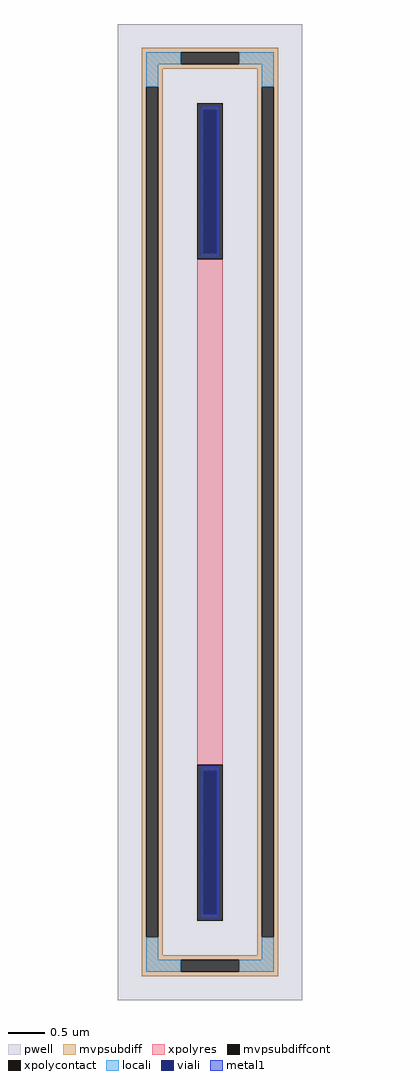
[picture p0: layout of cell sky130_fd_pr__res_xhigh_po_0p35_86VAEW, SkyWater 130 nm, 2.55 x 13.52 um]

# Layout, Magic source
magic
tech sky130A
magscale 1 2
<< pwell >>
rect -255 -1352 255 1352
<< mvpsubdiff >>
rect -189 1274 189 1286
rect -189 1240 -81 1274
rect 81 1240 189 1274
rect -189 1228 189 1240
rect -189 1178 -131 1228
rect -189 -1178 -177 1178
rect -143 -1178 -131 1178
rect 131 1178 189 1228
rect -189 -1228 -131 -1178
rect 131 -1178 143 1178
rect 177 -1178 189 1178
rect 131 -1228 189 -1178
rect -189 -1240 189 -1228
rect -189 -1274 -81 -1240
rect 81 -1274 189 -1240
rect -189 -1286 189 -1274
<< mvpsubdiffcont >>
rect -81 1240 81 1274
rect -177 -1178 -143 1178
rect 143 -1178 177 1178
rect -81 -1274 81 -1240
<< xpolycontact >>
rect -35 700 35 1132
rect -35 -1132 35 -700
<< xpolyres >>
rect -35 -700 35 700
<< locali >>
rect -177 1240 -81 1274
rect 81 1240 177 1274
rect -177 1178 -143 1240
rect 143 1178 177 1240
rect -177 -1240 -143 -1178
rect 143 -1240 177 -1178
rect -177 -1274 -81 -1240
rect 81 -1274 177 -1240
<< viali >>
rect -19 717 19 1114
rect -19 -1114 19 -717
<< metal1 >>
rect -25 1114 25 1126
rect -25 717 -19 1114
rect 19 717 25 1114
rect -25 705 25 717
rect -25 -717 25 -705
rect -25 -1114 -19 -717
rect 19 -1114 25 -717
rect -25 -1126 25 -1114
<< properties >>
string FIXED_BBOX -160 -1257 160 1257
string gencell sky130_fd_pr__res_xhigh_po_0p35
string library sky130
string parameters w 0.350 l 7.16 m 1 nx 1 wmin 0.350 lmin 0.50 rho 2000 val 41.989k dummy 0 dw 0.0 term 188.2 sterm 0.0 caplen 0 wmax 0.350 guard 1 glc 1 grc 1 gtc 1 gbc 1 compatible {sky130_fd_pr__res_xhigh_po_0p35  sky130_fd_pr__res_xhigh_po_0p69 sky130_fd_pr__res_xhigh_po_1p41  sky130_fd_pr__res_xhigh_po_2p85 sky130_fd_pr__res_xhigh_po_5p73} snake 0 full_metal 1 n_guard 0 hv_guard 1 vias 1 viagb 0 viagt 0 viagl 0 viagr 0
<< end >>
